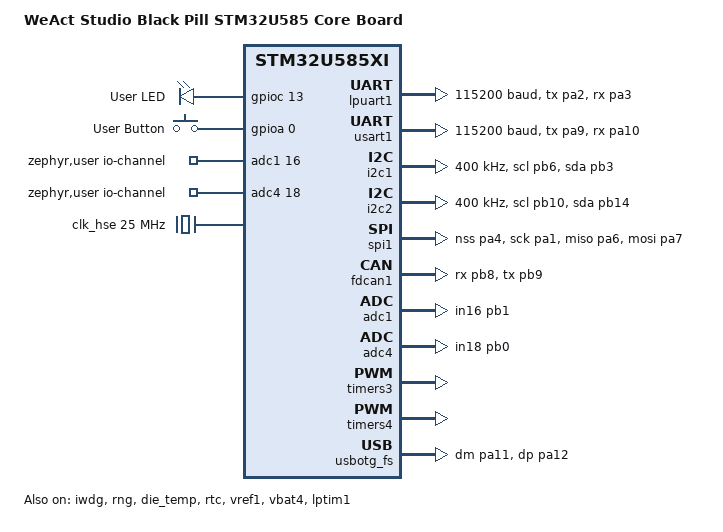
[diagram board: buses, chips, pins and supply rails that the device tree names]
/*
 * Copyright (c) 2025 Michal Piekos
 *
 * SPDX-License-Identifier: Apache-2.0
 */

/dts-v1/;
#include <st/u5/stm32u585Xi.dtsi>
#include <st/u5/stm32u585ciux-pinctrl.dtsi>
#include <zephyr/dt-bindings/input/input-event-codes.h>

/ {
	model = "WeAct Studio Black Pill STM32U585 Core Board";
	compatible = "weact,blackpill-u585ci";

	#address-cells = <1>;
	#size-cells = <1>;

	chosen {
		zephyr,console = &usart1;
		zephyr,shell-uart = &usart1;
		zephyr,sram = &sram0;
		zephyr,flash = &flash0;
		zephyr,canbus = &fdcan1;
	};

	aliases {
		led0 = &led_0;
		sw0 = &button_0;
		watchdog0 = &iwdg;
		volt-sensor0 = &vref1;
		volt-sensor1 = &vbat4;
		die-temp0 = &die_temp;
	};

	leds {
		compatible = "gpio-leds";

		led_0: led0 {
			gpios = <&gpioc 13 GPIO_ACTIVE_HIGH>;
			label = "User LED";
		};
	};

	gpio_keys {
		compatible = "gpio-keys";

		button_0: button0 {
			label = "User Button";
			gpios = <&gpioa 0 (GPIO_PULL_DOWN | GPIO_ACTIVE_HIGH)>;
			zephyr,code = <INPUT_KEY_0>;
		};
	};

	zephyr,user {
		io-channels = <&adc1 16>, <&adc4 18>;
	};
};

&clk_hsi48 {
	status = "okay";
};

&clk_lse {
	status = "okay";
};

&clk_hse {
	clock-frequency = <DT_FREQ_M(25)>;
	status = "okay";
};

&clk_msis {
	status = "okay";
	msi-range = <4>;
	msi-pll-mode;
};

&pll1 {
	div-m = <5>;
	mul-n = <32>;
	div-q = <2>;
	div-r = <1>;
	clocks = <&clk_hse>;
	status = "okay";
};

&rcc {
	clocks = <&pll1>;
	clock-frequency = <DT_FREQ_M(160)>;
	ahb-prescaler = <1>;
	apb1-prescaler = <1>;
	apb2-prescaler = <1>;
	apb3-prescaler = <1>;
};

&lpuart1 {
	pinctrl-0 = <&lpuart1_tx_pa2 &lpuart1_rx_pa3>;
	pinctrl-names = "default";
	current-speed = <115200>;
	status = "okay";
};

&usart1 {
	pinctrl-0 = <&usart1_tx_pa9 &usart1_rx_pa10>;
	pinctrl-names = "default";
	current-speed = <115200>;
	status = "okay";
};

&i2c1 {
	pinctrl-0 = <&i2c1_scl_pb6 &i2c1_sda_pb3>;
	pinctrl-names = "default";
	status = "okay";
	clock-frequency = <I2C_BITRATE_FAST>;
};

&i2c2 {
	pinctrl-0 = <&i2c2_scl_pb10 &i2c2_sda_pb14>;
	pinctrl-names = "default";
	status = "okay";
	clock-frequency = <I2C_BITRATE_FAST>;
};

&spi1 {
	pinctrl-0 = <&spi1_nss_pa4 &spi1_sck_pa1
		     &spi1_miso_pa6 &spi1_mosi_pa7>;
	pinctrl-names = "default";
	status = "okay";
};

&fdcan1 {
	clocks = <&rcc STM32_CLOCK(APB1_2, 9)>,
		 <&rcc STM32_SRC_PLL1_Q FDCAN1_SEL(1)>;
	pinctrl-0 = <&fdcan1_rx_pb8 &fdcan1_tx_pb9>;
	pinctrl-names = "default";
	status = "okay";
};

&adc1 {
	pinctrl-0 = <&adc1_in16_pb1>;
	pinctrl-names = "default";
	st,adc-clock-source = "ASYNC";
	st,adc-prescaler = <4>;
	status = "okay";
};

&adc4 {
	pinctrl-0 = <&adc4_in18_pb0>;
	pinctrl-names = "default";
	st,adc-clock-source = "ASYNC";
	st,adc-prescaler = <4>;
	status = "okay";
};

&dac1 {
	/* CAUTION: DAC on PA4 may conflict with SPI1 NSS on same pin */
	pinctrl-0 = <&dac1_out1_pa4>;
	pinctrl-names = "default";
	status = "disabled";
};

&timers3 {
	st,prescaler = <10000>;
	status = "okay";

	pwm3: pwm {
		pinctrl-0 = <&tim3_ch1_pb4>;
		pinctrl-names = "default";
		status = "okay";
	};
};

&timers4 {
	st,prescaler = <10000>;
	status = "okay";

	pwm4: pwm {
		pinctrl-0 = <&tim4_ch2_pb7>;
		pinctrl-names = "default";
		status = "okay";
	};
};

zephyr_udc0: &usbotg_fs {
	pinctrl-0 = <&usb_otg_fs_dm_pa11 &usb_otg_fs_dp_pa12>;
	pinctrl-names = "default";
	status = "okay";

	cdc_acm_uart0: cdc_acm_uart0 {
		compatible = "zephyr,cdc-acm-uart";
	};
};

&iwdg {
	status = "okay";
};

&rng {
	status = "okay";
};

&gpdma1 {
	status = "okay";
};

&die_temp {
	status = "okay";
};

&rtc {
	clocks = <&rcc STM32_CLOCK(APB3, 21)>,
		 <&rcc STM32_SRC_LSE RTC_SEL(1)>;
	status = "okay";
};

&vref1 {
	status = "okay";
};

&vbat4 {
	status = "okay";
};

&clk_lsi {
	status = "okay";
};

stm32_lp_tick_source: &lptim1 {
	clocks = <&rcc STM32_CLOCK(APB3, 11)>,
		 <&rcc STM32_SRC_LSI LPTIM1_SEL(1)>;
	status = "okay";
};

&backup_sram {
	status = "okay";
};
